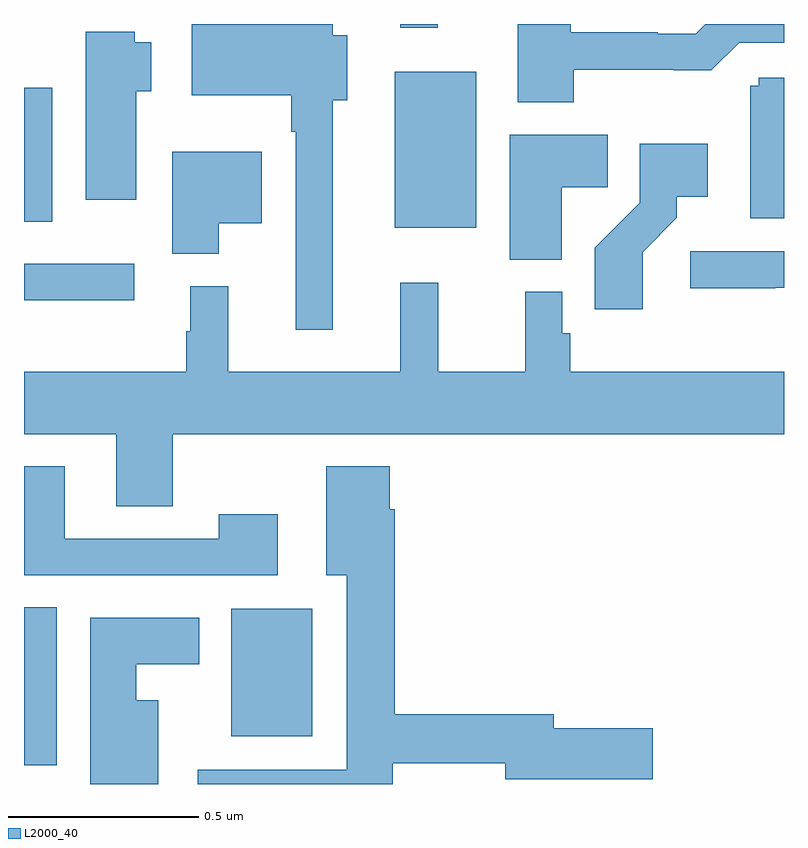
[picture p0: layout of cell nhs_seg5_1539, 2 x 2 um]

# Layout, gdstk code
import gdstk
lib = gdstk.Library(unit=1e-6, precision=1e-09)
def R(c, l, rs):  # rectangles x0, y0, x1, y1
    for r in rs: c.add(gdstk.rectangle(r[:2], r[2:], *l))
def P(c, l, *ps):  # polygons
    for p in ps: c.add(gdstk.Polygon(p, *l))
L2000_40 = (2000, 40)

nhs_seg5_1539 = lib.new_cell('nhs_seg5_1539')
R(nhs_seg5_1539, L2000_40, [(131,895.849,131.086,896.264), (131.546,895.925,131.758,896.26), (131,897.072,131.29,897.168), (131.975,897.263,132.19,897.673), (131,897.278,131.074,897.631), (131.99,897.789,132.089,897.799)])
P(nhs_seg5_1539, L2000_40, [(132.447,897.678),(132.71,897.678),(132.71,897.677),(132.809,897.677),(132.882,897.75),(133,897.75),(133,897.799),(132.793,897.799),(132.768,897.774),(132.668,897.774),(132.668,897.777),(132.439,897.777),(132.439,897.799),(132.299,897.799),(132.299,897.593),(132.447,897.593)],
  [(131.812,897.599),(131.851,897.599),(131.851,897.769),(131.812,897.769),(131.812,897.799),(131.442,897.799),(131.442,897.611),(131.703,897.611),(131.703,897.515),(131.715,897.515),(131.715,896.994),(131.812,896.994)],
  [(131.296,897.622),(131.335,897.622),(131.335,897.751),(131.292,897.751),(131.292,897.778),(131.162,897.778),(131.162,897.336),(131.296,897.336)],
  [(133,897.657),(132.933,897.657),(132.933,897.636),(132.911,897.636),(132.911,897.288),(133,897.288)],
  [(132.415,897.37),(132.536,897.37),(132.536,897.508),(132.278,897.508),(132.278,897.179),(132.415,897.179)],
  [(132.628,897.199),(132.718,897.289),(132.718,897.344),(132.799,897.344),(132.799,897.484),(132.621,897.484),(132.621,897.329),(132.502,897.21),(132.502,897.048),(132.628,897.048)],
  [(131.512,897.275),(131.626,897.275),(131.626,897.463),(131.39,897.463),(131.39,897.194),(131.512,897.194)],
  [(132.977,897.105),(133,897.105),(133,897.201),(132.753,897.201),(132.753,897.103),(132.977,897.103)],
  [(131.391,896.72),(133,896.72),(133,896.884),(132.437,896.884),(132.437,896.985),(132.417,896.985),(132.417,897.094),(132.319,897.094),(132.319,896.884),(132.09,896.884),(132.09,897.118),(131.99,897.118),(131.99,896.884),(131.537,896.884),(131.537,897.109),(131.438,897.109),(131.438,896.991),(131.427,896.991),(131.427,896.884),(131,896.884),(131,896.72),(131.243,896.72),(131.243,896.53),(131.391,896.53)],
  [(131.668,896.509),(131.512,896.509),(131.512,896.445),(131.107,896.445),(131.107,896.635),(131,896.635),(131,896.349),(131.668,896.349)],
  [(131.97,895.854),(132.266,895.854),(132.266,895.811),(132.655,895.811),(132.655,895.946),(132.394,895.946),(132.394,895.982),(131.975,895.982),(131.975,896.522),(131.962,896.522),(131.962,896.635),(131.795,896.635),(131.795,896.348),(131.849,896.348),(131.849,895.836),(131.457,895.836),(131.457,895.799),(131.97,895.799)],
  [(131.353,896.02),(131.296,896.02),(131.296,896.114),(131.461,896.114),(131.461,896.236),(131.174,896.236),(131.174,895.799),(131.353,895.799)])

lib.write_gds('nhs_seg5_1539.gds')
